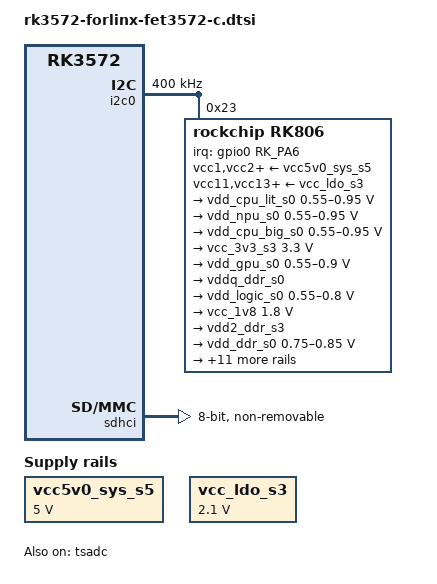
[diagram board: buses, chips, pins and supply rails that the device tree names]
// SPDX-License-Identifier: (GPL-2.0+ OR MIT)
/*
 * Copyright (c) 2025 Forlinx Embedded Tech. Co., Ltd
 */

#include <dt-bindings/gpio/gpio.h>
#include <dt-bindings/pinctrl/rockchip.h>
#include "rk3572.dtsi"

/ {
	compatible = "forlinx,fet3572-c", "rockchip,rk3572";

	vcc5v0_sys_s5: regulator-vcc5v0-sys-s5 {
		compatible = "regulator-fixed";
		regulator-name = "vcc5v0_sys_s5";
		regulator-always-on;
		regulator-boot-on;
		regulator-min-microvolt = <5000000>;
		regulator-max-microvolt = <5000000>;
	};

	vcc_ldo_s3: regulator-vcc-ldo-s3 {
		compatible = "regulator-fixed";
		regulator-name = "vcc_ldo_s3";
		regulator-always-on;
		regulator-boot-on;
		regulator-min-microvolt = <2100000>;
		regulator-max-microvolt = <2100000>;
	};
};

&cpu_b0 {
	cpu-supply = <&vdd_cpu_big_s0>;
};

&cpu_l0 {
	cpu-supply = <&vdd_cpu_lit_s0>;
};

&cpu_l4 {
	cpu-supply = <&vdd_cpu_lit_s0>;
};

&i2c0 {
	clock-frequency = <400000>;
	status = "okay";

	rk806: pmic@23 {
		compatible = "rockchip,rk806";
		reg = <0x23>;

		interrupt-parent = <&gpio0>;
		interrupts = <RK_PA6 IRQ_TYPE_LEVEL_LOW>;

		low_voltage_threshold = <3000>;
		shutdown_voltage_threshold = <2700>;
		shutdown_temperture_threshold = <160>;
		hotdie_temperture_threshold = <115>;
		shutdown-sequence = <2 2 2 0 2 0 2 1 1 2
					2 2 2 2 2
					1 0 1 0 0 2>;

		vb-shutdown-sequence = <2 2 2 0 2 0 2 1 1 2
					2 2 2 2 2
					1 0 1 0 0 2>;

		pmic-reset-func = <1>;

		vcc1-supply = <&vcc5v0_sys_s5>;
		vcc2-supply = <&vcc5v0_sys_s5>;
		vcc3-supply = <&vcc5v0_sys_s5>;
		vcc4-supply = <&vcc5v0_sys_s5>;
		vcc5-supply = <&vcc5v0_sys_s5>;
		vcc6-supply = <&vcc5v0_sys_s5>;
		vcc7-supply = <&vcc5v0_sys_s5>;
		vcc8-supply = <&vcc5v0_sys_s5>;
		vcc9-supply = <&vcc5v0_sys_s5>;
		vcc10-supply = <&vcc5v0_sys_s5>;
		vcc11-supply = <&vcc_ldo_s3>;
		vcc12-supply = <&vcc5v0_sys_s5>;
		vcc13-supply = <&vcc_ldo_s3>;
		vcc14-supply = <&vcc_ldo_s3>;
		vcca-supply = <&vcc5v0_sys_s5>;

		pwrkey {
			status = "okay";
		};

		regulators {
			vdd_cpu_lit_s0: DCDC_REG1 {
				regulator-always-on;
				regulator-boot-on;
				regulator-min-microvolt = <550000>;
				regulator-max-microvolt = <950000>;
				regulator-ramp-delay = <12500>;
				regulator-name = "vdd_cpu_lit_s0";
				regulator-enable-ramp-delay = <400>;
				regulator-state-mem {
					regulator-off-in-suspend;
				};
			};

			vdd_npu_s0: DCDC_REG2 {
				regulator-boot-on;
				regulator-min-microvolt = <550000>;
				regulator-max-microvolt = <950000>;
				regulator-ramp-delay = <12500>;
				regulator-name = "vdd_npu_s0";
				regulator-enable-ramp-delay = <400>;
				regulator-state-mem {
					regulator-off-in-suspend;
				};
			};

			vdd_cpu_big_s0: DCDC_REG3 {
				regulator-always-on;
				regulator-boot-on;
				regulator-min-microvolt = <550000>;
				regulator-max-microvolt = <950000>;
				regulator-ramp-delay = <12500>;
				regulator-name = "vdd_cpu_big_s0";
				regulator-state-mem {
					regulator-off-in-suspend;
					regulator-suspend-microvolt = <750000>;
				};
			};

			vcc_3v3_s3: DCDC_REG4 {
				regulator-always-on;
				regulator-boot-on;
				regulator-min-microvolt = <3300000>;
				regulator-max-microvolt = <3300000>;
				regulator-name = "vcc_3v3_s3";
				regulator-state-mem {
					regulator-on-in-suspend;
					regulator-suspend-microvolt = <3300000>;
				};
			};

			vdd_gpu_s0: DCDC_REG5 {
				regulator-always-on;
				regulator-boot-on;
				regulator-min-microvolt = <550000>;
				regulator-max-microvolt = <900000>;
				regulator-ramp-delay = <12500>;
				regulator-name = "vdd_gpu_s0";
				regulator-enable-ramp-delay = <400>;
				regulator-state-mem {
					regulator-off-in-suspend;
				};
			};

			vddq_ddr_s0: DCDC_REG6 {
				regulator-always-on;
				regulator-boot-on;
				regulator-name = "vddq_ddr_s0";
				regulator-state-mem {
					regulator-off-in-suspend;
				};
			};

			vdd_logic_s0: DCDC_REG7 {
				regulator-always-on;
				regulator-boot-on;
				regulator-min-microvolt = <550000>;
				regulator-max-microvolt = <800000>;
				regulator-name = "vdd_logic_s0";
				regulator-state-mem {
					regulator-off-in-suspend;
				};
			};

			vcc_1v8: DCDC_REG8 {
				regulator-always-on;
				regulator-boot-on;
				regulator-min-microvolt = <1800000>;
				regulator-max-microvolt = <1800000>;
				regulator-name = "vcc_1v8";
				regulator-state-mem {
					regulator-off-in-suspend;
					regulator-suspend-microvolt = <1800000>;
				};
			};

			vdd2_ddr_s3: DCDC_REG9 {
				regulator-always-on;
				regulator-boot-on;
				regulator-name = "vdd2_ddr_s3";
				regulator-state-mem {
					regulator-on-in-suspend;
				};
			};

			vdd_ddr_s0: DCDC_REG10 {
				regulator-always-on;
				regulator-boot-on;
				regulator-min-microvolt = <750000>;
				regulator-max-microvolt = <850000>;
				regulator-name = "vdd_ddr_s0";
				regulator-state-mem {
					regulator-off-in-suspend;
					regulator-suspend-microvolt = <800000>;
				};
			};

			vcc_1v8_s3: PLDO_REG1 {
				regulator-always-on;
				regulator-boot-on;
				regulator-min-microvolt = <1800000>;
				regulator-max-microvolt = <1800000>;
				regulator-name = "vcc_1v8_s3";
				regulator-state-mem {
					regulator-on-in-suspend;
					regulator-suspend-microvolt = <1800000>;
				};
			};

			vccio_1v8_s0: PLDO_REG2 {
				regulator-always-on;
				regulator-boot-on;
				regulator-min-microvolt = <1800000>;
				regulator-max-microvolt = <1800000>;
				regulator-name = "vccio_1v8_s0";
				regulator-state-mem {
					regulator-off-in-suspend;
				};
			};

			vdda_1v2_s0: PLDO_REG3 {
				regulator-always-on;
				regulator-boot-on;
				regulator-min-microvolt = <1200000>;
				regulator-max-microvolt = <1200000>;
				regulator-name = "vdda_1v2_s0";
				regulator-state-mem {
					regulator-off-in-suspend;
				};
			};

			vcc3v3_sd_s0: PLDO_REG4 {
				regulator-always-on;
				regulator-boot-on;
				regulator-min-microvolt = <3300000>;
				regulator-max-microvolt = <3300000>;
				regulator-name = "vcc3v3_sd_s0";
				regulator-state-mem {
					regulator-off-in-suspend;
				};
			};

			vccio_sd_s0: PLDO_REG5 {
				regulator-always-on;
				regulator-boot-on;
				regulator-min-microvolt = <1800000>;
				regulator-max-microvolt = <3300000>;
				regulator-name = "vccio_sd_s0";
				regulator-state-mem {
					regulator-off-in-suspend;
				};
			};

			vcca1v8_pldo6_s3: PLDO_REG6 {
				regulator-always-on;
				regulator-boot-on;
				regulator-min-microvolt = <1800000>;
				regulator-max-microvolt = <1800000>;
				regulator-name = "vcca1v8_pldo6_s3";
				regulator-state-mem {
					regulator-on-in-suspend;
					regulator-suspend-microvolt = <1800000>;
				};
			};

			vdd_0v75_s3: NLDO_REG1 {
				regulator-always-on;
				regulator-boot-on;
				regulator-min-microvolt = <750000>;
				regulator-max-microvolt = <750000>;
				regulator-name = "vdd_0v75_s3";
				regulator-state-mem {
					regulator-on-in-suspend;
					regulator-suspend-microvolt = <750000>;
				};
			};

			vdda_0v85_s0: NLDO_REG2 {
				regulator-always-on;
				regulator-boot-on;
				regulator-min-microvolt = <850000>;
				regulator-max-microvolt = <850000>;
				regulator-name = "vdd_0v85_s0";
				regulator-state-mem {
					regulator-off-in-suspend;
				};
			};

			vdda_hdmi_s0: NLDO_REG3 {
				regulator-always-on;
				regulator-boot-on;
				regulator-min-microvolt = <837500>;
				regulator-max-microvolt = <837500>;
				regulator-name = "vdda_hdmi_s0";
				regulator-state-mem {
					regulator-off-in-suspend;
				};
			};

			vdda_ddr_pll_s0: NLDO_REG4 {
				regulator-always-on;
				regulator-boot-on;
				regulator-min-microvolt = <850000>;
				regulator-max-microvolt = <850000>;
				regulator-name = "vdda_ddr_pll_s0";
				regulator-state-mem {
					regulator-off-in-suspend;
				};
			};

			vdda_0v75_s0: NLDO_REG5 {
				regulator-always-on;
				regulator-boot-on;
				regulator-min-microvolt = <750000>;
				regulator-max-microvolt = <750000>;
				regulator-name = "vdda_0v75_s0";
				regulator-state-mem {
					regulator-off-in-suspend;
				};
			};
		};
	};
};

&sdhci {
	bus-width = <8>;
	max-frequency = <200000000>;
	mmc-hs400-1_8v;
	mmc-hs400-enhanced-strobe;
	no-sd;
	no-sdio;
	non-removable;
	pinctrl-names = "default";
	pinctrl-0 = <&emmc_rstnout_pins &emmc_bus8_pins &emmc_clk_pins
		     &emmc_cmd_pins &emmc_strb_pins>;
	status = "okay";
};

&tsadc {
	status = "okay";
};
